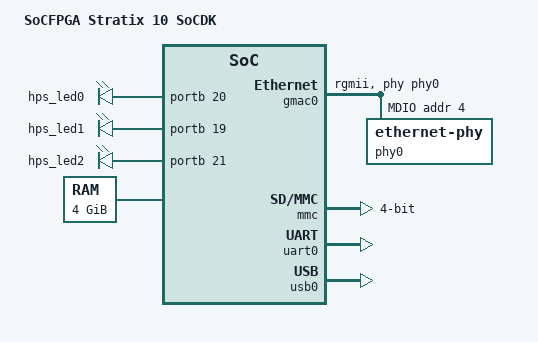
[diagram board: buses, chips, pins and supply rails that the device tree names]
// SPDX-License-Identifier: GPL-2.0
/*
 * Copyright (C) 2018 Intel Corporation
 */

#include "socfpga_stratix10.dtsi"

/ {
	model = "SoCFPGA Stratix 10 SoCDK";

	aliases {
		serial0 = &uart0;
	};

	chosen {
		stdout-path = "serial0:115200n8";
	};

	leds {
		compatible = "gpio-leds";
		hps0 {
			label = "hps_led0";
			gpios = <&portb 20 GPIO_ACTIVE_HIGH>;
		};

		hps1 {
			label = "hps_led1";
			gpios = <&portb 19 GPIO_ACTIVE_HIGH>;
		};

		hps2 {
			label = "hps_led2";
			gpios = <&portb 21 GPIO_ACTIVE_HIGH>;
		};
	};

	memory {
		device_type = "memory";
		/* 4GB */
		reg = <0 0x00000000 0 0x80000000>,
		      <1 0x80000000 0 0x80000000>;
		u-boot,dm-pre-reloc;
	};
};

&gpio1 {
	status = "okay";
};

&gmac0 {
	status = "okay";
	phy-mode = "rgmii";
	phy-handle = <&phy0>;

	max-frame-size = <3800>;

	mdio0 {
		#address-cells = <1>;
		#size-cells = <0>;
		compatible = "snps,dwmac-mdio";
		phy0: ethernet-phy@0 {
			reg = <4>;

			txd0-skew-ps = <0>; /* -420ps */
			txd1-skew-ps = <0>; /* -420ps */
			txd2-skew-ps = <0>; /* -420ps */
			txd3-skew-ps = <0>; /* -420ps */
			rxd0-skew-ps = <420>; /* 0ps */
			rxd1-skew-ps = <420>; /* 0ps */
			rxd2-skew-ps = <420>; /* 0ps */
			rxd3-skew-ps = <420>; /* 0ps */
			txen-skew-ps = <0>; /* -420ps */
			txc-skew-ps = <1860>; /* 960ps */
			rxdv-skew-ps = <420>; /* 0ps */
			rxc-skew-ps = <1680>; /* 780ps */
		};
	};
};

&mmc {
	status = "okay";
	cap-sd-highspeed;
	cap-mmc-highspeed;
	broken-cd;
	bus-width = <4>;
	drvsel = <3>;
	smplsel = <0>;
};

&uart0 {
	status = "okay";
};

&usb0 {
	status = "okay";
};
